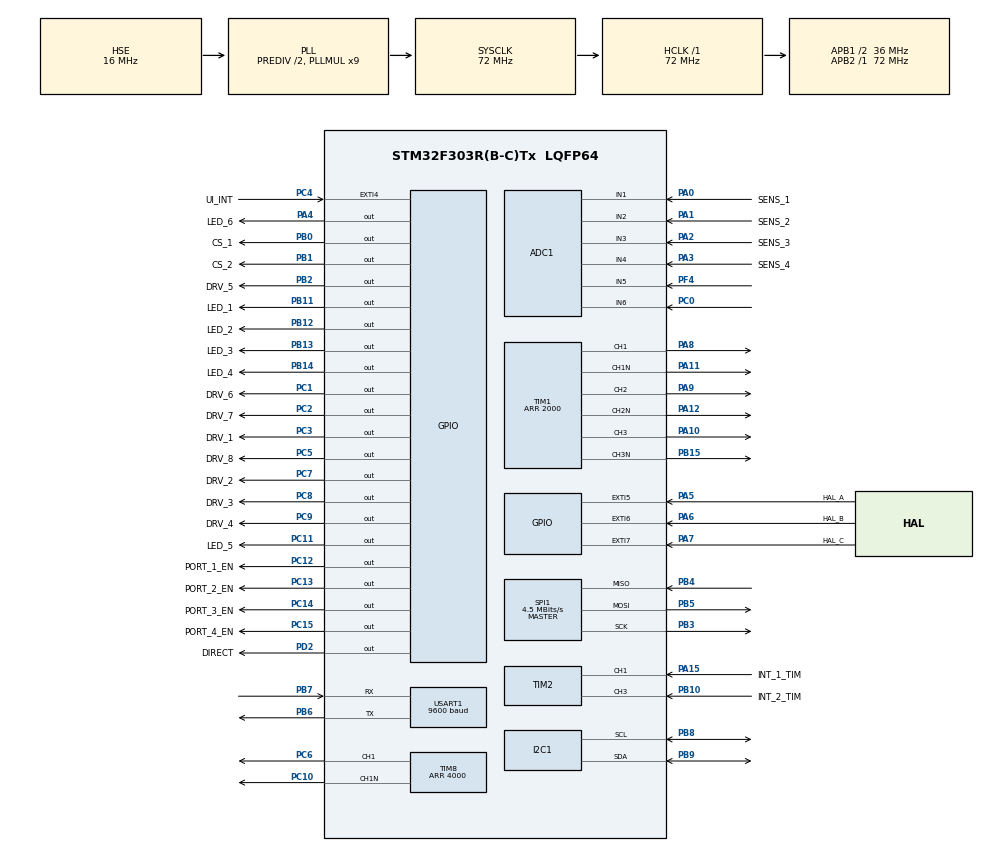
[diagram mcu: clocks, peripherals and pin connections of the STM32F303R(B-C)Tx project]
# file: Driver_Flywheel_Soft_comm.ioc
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ADC1.Channel-0\#ChannelRegularConversion=ADC_CHANNEL_1
ADC1.Channel-1\#ChannelRegularConversion=ADC_CHANNEL_1
ADC1.Channel-2\#ChannelRegularConversion=ADC_CHANNEL_1
ADC1.Channel-3\#ChannelRegularConversion=ADC_CHANNEL_1
ADC1.Channel-4\#ChannelRegularConversion=ADC_CHANNEL_1
ADC1.Channel-5\#ChannelRegularConversion=ADC_CHANNEL_1
ADC1.Channel-6\#ChannelRegularConversion=ADC_CHANNEL_1
ADC1.Channel-7\#ChannelRegularConversion=ADC_CHANNEL_1
ADC1.NbrOfConversion=8
ADC1.NbrOfConversionFlag=1
ADC1.Offset-0\#ChannelRegularConversion=0
ADC1.Offset-1\#ChannelRegularConversion=0
ADC1.Offset-2\#ChannelRegularConversion=0
ADC1.Offset-3\#ChannelRegularConversion=0
ADC1.Offset-4\#ChannelRegularConversion=0
ADC1.Offset-5\#ChannelRegularConversion=0
ADC1.Offset-6\#ChannelRegularConversion=0
ADC1.Offset-7\#ChannelRegularConversion=0
ADC1.OffsetNumber-0\#ChannelRegularConversion=ADC_OFFSET_NONE
ADC1.OffsetNumber-1\#ChannelRegularConversion=ADC_OFFSET_NONE
ADC1.OffsetNumber-2\#ChannelRegularConversion=ADC_OFFSET_NONE
ADC1.OffsetNumber-3\#ChannelRegularConversion=ADC_OFFSET_NONE
ADC1.OffsetNumber-4\#ChannelRegularConversion=ADC_OFFSET_NONE
ADC1.OffsetNumber-5\#ChannelRegularConversion=ADC_OFFSET_NONE
ADC1.OffsetNumber-6\#ChannelRegularConversion=ADC_OFFSET_NONE
ADC1.OffsetNumber-7\#ChannelRegularConversion=ADC_OFFSET_NONE
ADC1.Rank-0\#ChannelRegularConversion=1
ADC1.Rank-1\#ChannelRegularConversion=2
ADC1.Rank-2\#ChannelRegularConversion=3
ADC1.Rank-3\#ChannelRegularConversion=4
ADC1.Rank-4\#ChannelRegularConversion=5
ADC1.Rank-5\#ChannelRegularConversion=6
ADC1.Rank-6\#ChannelRegularConversion=7
ADC1.Rank-7\#ChannelRegularConversion=8
ADC1.SamplingTime-0\#ChannelRegularConversion=ADC_SAMPLETIME_1CYCLE_5
ADC1.SamplingTime-1\#ChannelRegularConversion=ADC_SAMPLETIME_1CYCLE_5
ADC1.SamplingTime-2\#ChannelRegularConversion=ADC_SAMPLETIME_1CYCLE_5
ADC1.SamplingTime-3\#ChannelRegularConversion=ADC_SAMPLETIME_1CYCLE_5
ADC1.SamplingTime-4\#ChannelRegularConversion=ADC_SAMPLETIME_1CYCLE_5
ADC1.SamplingTime-5\#ChannelRegularConversion=ADC_SAMPLETIME_1CYCLE_5
ADC1.SamplingTime-6\#ChannelRegularConversion=ADC_SAMPLETIME_1CYCLE_5
ADC1.SamplingTime-7\#ChannelRegularConversion=ADC_SAMPLETIME_1CYCLE_5
ADC1.SequencerNbRanks=1
ADC1.master=1
Dma.Request0=USART1_RX
Dma.Request1=USART1_TX
Dma.USART1_RX.0.Direction=DMA_PERIPH_TO_MEMORY
Dma.USART1_RX.0.Instance=DMA1_Channel5
Dma.USART1_RX.0.MemDataAlignment=DMA_MDATAALIGN_BYTE
Dma.USART1_RX.0.MemInc=DMA_MINC_ENABLE
Dma.USART1_RX.0.Mode=DMA_NORMAL
Dma.USART1_RX.0.PeriphDataAlignment=DMA_PDATAALIGN_BYTE
Dma.USART1_RX.0.PeriphInc=DMA_PINC_DISABLE
Dma.USART1_RX.0.Priority=DMA_PRIORITY_LOW
Dma.USART1_TX.1.Direction=DMA_MEMORY_TO_PERIPH
Dma.USART1_TX.1.Instance=DMA1_Channel4
Dma.USART1_TX.1.MemDataAlignment=DMA_MDATAALIGN_BYTE
Dma.USART1_TX.1.MemInc=DMA_MINC_ENABLE
Dma.USART1_TX.1.Mode=DMA_NORMAL
Dma.USART1_TX.1.PeriphDataAlignment=DMA_PDATAALIGN_BYTE
Dma.USART1_TX.1.PeriphInc=DMA_PINC_DISABLE
Dma.USART1_TX.1.Priority=DMA_PRIORITY_LOW
I2C1.Timing=0x00201D2B
Mcu.Family=STM32F3
Mcu.Name=STM32F303R(B-C)Tx
Mcu.Package=LQFP64
NVIC.DMA1_Channel4_IRQn=true\:0\:0\:false\:false\:true\:false\:true\:true
NVIC.DMA1_Channel5_IRQn=true\:0\:0\:false\:false\:true\:false\:true\:true
NVIC.PriorityGroup=NVIC_PRIORITYGROUP_4
NVIC.TIM1_BRK_TIM15_IRQn=true\:0\:0\:false\:false\:true\:true\:true\:true
NVIC.TIM2_IRQn=true\:0\:0\:false\:false\:true\:true\:true\:true
NVIC.TIM3_IRQn=true\:0\:0\:false\:false\:true\:true\:true\:true
NVIC.USART1_IRQn=true\:0\:0\:false\:false\:true\:true\:true\:true
PA0.GPIO_Label=SENS_1
PA0.Mode=IN1-Single-Ended
PA0.Signal=ADC1_IN1
PA1.GPIO_Label=SENS_2
PA1.Mode=IN2-Single-Ended
PA1.Signal=ADC1_IN2
PA10.Signal=S_TIM1_CH3
PA11.Mode=PWM Generation1 CH1 CH1N
PA11.Signal=TIM1_CH1N
PA12.Mode=PWM Generation2 CH2 CH2N
PA12.Signal=TIM1_CH2N
PA13.Mode=Serial_Wire
PA13.Signal=SYS_JTMS-SWDIO
PA14.Mode=Serial_Wire
PA14.Signal=SYS_JTCK-SWCLK
PA15.GPIO_Label=INT_1_TIM
PA15.Signal=S_TIM2_CH1_ETR
PA2.GPIO_Label=SENS_3
PA2.Mode=IN3-Single-Ended
PA2.Signal=ADC1_IN3
PA3.GPIO_Label=SENS_4
PA3.Mode=IN4-Single-Ended
PA3.Signal=ADC1_IN4
PA4.GPIO_Label=LED_6
PA4.Signal=GPIO_Output
PA5.GPIO_Label=HAL_A
PA5.Signal=GPXTI5
PA6.GPIO_Label=HAL_B
PA6.Signal=GPXTI6
PA7.GPIO_Label=HAL_C
PA7.Signal=GPXTI7
PA8.Signal=S_TIM1_CH1
PA9.Signal=S_TIM1_CH2
PB0.GPIO_Label=CS_1
PB0.Signal=GPIO_Output
PB1.GPIO_Label=CS_2
PB1.Signal=GPIO_Output
PB10.GPIO_Label=INT_2_TIM
PB10.Signal=S_TIM2_CH3
PB11.GPIO_Label=LED_1
PB11.Signal=GPIO_Output
PB12.GPIO_Label=LED_2
PB12.Signal=GPIO_Output
PB13.GPIO_Label=LED_3
PB13.Signal=GPIO_Output
PB14.GPIO_Label=LED_4
PB14.Signal=GPIO_Output
PB15.Mode=PWM Generation3 CH3 CH3N
PB15.Signal=TIM1_CH3N
PB2.GPIO_Label=DRV_5
PB2.Signal=GPIO_Output
PB3.Mode=Full_Duplex_Master
PB3.Signal=SPI1_SCK
PB4.Mode=Full_Duplex_Master
PB4.Signal=SPI1_MISO
PB5.Mode=Full_Duplex_Master
PB5.Signal=SPI1_MOSI
PB6.Mode=Asynchronous
PB6.Signal=USART1_TX
PB7.Mode=Asynchronous
PB7.Signal=USART1_RX
PB8.Mode=I2C
PB8.Signal=I2C1_SCL
PB9.Mode=I2C
PB9.Signal=I2C1_SDA
PC0.Signal=ADCx_IN6
PC1.GPIO_Label=DRV_6
PC1.Signal=GPIO_Output
PC10.Mode=PWM Generation1 CH1 CH1N
PC10.Signal=TIM8_CH1N
PC11.GPIO_Label=LED_5
PC11.Signal=GPIO_Output
PC12.GPIO_Label=PORT_1_EN
PC12.Signal=GPIO_Output
PC13.GPIO_Label=PORT_2_EN
PC13.Signal=GPIO_Output
PC14-OSC32_IN.GPIO_Label=PORT_3_EN
PC14-OSC32_IN.Signal=GPIO_Output
PC15-OSC32_OUT.GPIO_Label=PORT_4_EN
PC15-OSC32_OUT.Signal=GPIO_Output
PC2.GPIO_Label=DRV_7
PC2.Signal=GPIO_Output
PC3.GPIO_Label=DRV_1
PC3.Signal=GPIO_Output
PC4.GPIO_Label=UI_INT
PC4.Signal=GPXTI4
PC5.GPIO_Label=DRV_8
PC5.Signal=GPIO_Output
PC6.Signal=S_TIM8_CH1
PC7.GPIO_Label=DRV_2
PC7.Signal=GPIO_Output
PC8.GPIO_Label=DRV_3
PC8.Signal=GPIO_Output
PC9.GPIO_Label=DRV_4
PC9.Signal=GPIO_Output
PD2.GPIO_Label=DIRECT
PD2.Signal=GPIO_Output
PF0-OSC_IN.Mode=HSE-External-Oscillator
PF0-OSC_IN.Signal=RCC_OSC_IN
PF1-OSC_OUT.Mode=HSE-External-Oscillator
PF1-OSC_OUT.Signal=RCC_OSC_OUT
PF4.Mode=IN5-Single-Ended
PF4.Signal=ADC1_IN5
ProjectManager.HeapSize=0x200
ProjectManager.StackSize=0x400
ProjectManager.TargetToolchain=STM32CubeIDE
RCC.AHBFreq_Value=72000000
RCC.APB1CLKDivider=RCC_HCLK_DIV2
RCC.APB1Freq_Value=36000000
RCC.APB1TimFreq_Value=72000000
RCC.APB2Freq_Value=72000000
RCC.APB2TimFreq_Value=72000000
RCC.CortexFreq_Value=72000000
RCC.HCLKFreq_Value=72000000
RCC.HSE_VALUE=16000000
RCC.HSI_VALUE=8000000
RCC.LSE_VALUE=32768
RCC.PLLMUL=RCC_PLL_MUL9
RCC.PLLSourceVirtual=RCC_PLLSOURCE_HSE
RCC.RCC_PLLsource_Clock_Source_FROM_HSE=RCC_HSE_PREDIV_DIV2
RCC.SYSCLKFreq_VALUE=72000000
RCC.SYSCLKSourceVirtual=RCC_SYSCLKSOURCE_PLLCLK
RCC.USBFreq_Value=72000000
SH.ADCx_IN6.0=ADC1_IN6,IN6-Single-Ended
SH.S_TIM1_CH1.0=TIM1_CH1,PWM Generation1 CH1 CH1N
SH.S_TIM1_CH2.0=TIM1_CH2,PWM Generation2 CH2 CH2N
SH.S_TIM1_CH3.0=TIM1_CH3,PWM Generation3 CH3 CH3N
SH.S_TIM2_CH1_ETR.0=TIM2_CH1,Input_Capture1_from_TI1
SH.S_TIM2_CH3.0=TIM2_CH3,Input_Capture3_from_TI3
SH.S_TIM8_CH1.0=TIM8_CH1,PWM Generation1 CH1 CH1N
SPI1.BaudRatePrescaler=SPI_BAUDRATEPRESCALER_16
SPI1.CalculateBaudRate=4.5 MBits/s
SPI1.Direction=SPI_DIRECTION_2LINES
SPI1.Mode=SPI_MODE_MASTER
SPI1.VirtualType=VM_MASTER
TIM1.AutoReloadPreload=TIM_AUTORELOAD_PRELOAD_ENABLE
TIM1.Channel-PWM\ Generation1\ CH1\ CH1N=TIM_CHANNEL_1
TIM1.Channel-PWM\ Generation2\ CH2\ CH2N=TIM_CHANNEL_2
TIM1.Channel-PWM\ Generation3\ CH3\ CH3N=TIM_CHANNEL_3
TIM1.DeadTime=150
TIM1.OCFastMode_PWM-PWM\ Generation1\ CH1\ CH1N=TIM_OCFAST_ENABLE
TIM1.OCFastMode_PWM-PWM\ Generation2\ CH2\ CH2N=TIM_OCFAST_ENABLE
TIM1.OCFastMode_PWM-PWM\ Generation3\ CH3\ CH3N=TIM_OCFAST_ENABLE
TIM1.OCNIdleState_1=TIM_OCNIDLESTATE_SET
TIM1.OCNIdleState_2=TIM_OCNIDLESTATE_SET
TIM1.OCNIdleState_3=TIM_OCNIDLESTATE_SET
TIM1.OCNPolarity_3=TIM_OCNPOLARITY_HIGH
TIM1.Period=2000
TIM1.Pulse-PWM\ Generation1\ CH1\ CH1N=1000
TIM1.Pulse-PWM\ Generation2\ CH2\ CH2N=1000
TIM1.Pulse-PWM\ Generation3\ CH3\ CH3N=1000
TIM2.Channel-Input_Capture1_from_TI1=TIM_CHANNEL_1
TIM2.Channel-Input_Capture2_from_TI1_63=TIM_CHANNEL_2
TIM2.Channel-Input_Capture3_from_TI3=TIM_CHANNEL_3
TIM2.Channel-Input_Capture4_from_TI3_63=TIM_CHANNEL_4
TIM2.ICFilter_CH1=15
TIM2.ICFilter_CH3=15
TIM2.ICPolarity_CH1=TIM_INPUTCHANNELPOLARITY_FALLING
TIM2.ICPolarity_CH3=TIM_INPUTCHANNELPOLARITY_FALLING
TIM3.AutoReloadPreload=TIM_AUTORELOAD_PRELOAD_DISABLE
TIM3.Period=35999
TIM3.Prescaler=199
TIM8.Channel-PWM\ Generation1\ CH1\ CH1N=TIM_CHANNEL_1
TIM8.OCFastMode_PWM-PWM\ Generation1\ CH1\ CH1N=TIM_OCFAST_ENABLE
TIM8.OCNIdleState_1=TIM_OCNIDLESTATE_SET
TIM8.Period=4000
TIM8.Pulse-PWM\ Generation1\ CH1\ CH1N=1000
USART1.BaudRate=9600
USART1.VirtualMode-Asynchronous=VM_ASYNC
VP_TIM15_VS_ClockSourceINT.Mode=Internal
VP_TIM1_VS_ClockSourceINT.Mode=Internal
VP_TIM2_VS_ClockSourceINT.Mode=Internal
VP_TIM2_VS_indirect_ch1.Mode=Input_Capture2_from_TI1_63
VP_TIM2_VS_indirect_ch3.Mode=Input_Capture4_from_TI3_63
VP_TIM3_VS_ClockSourceINT.Mode=Internal
VP_TIM6_VS_ClockSourceINT.Mode=Enable_Timer
VP_TIM8_VS_ClockSourceINT.Mode=Internal
board=custom

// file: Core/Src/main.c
/* USER CODE BEGIN Header */
/**
  ******************************************************************************
  * @file           : main.c
  * @brief          : Main program body
  ******************************************************************************
  * @attention
  *
  * Copyright (c) 2024 STMicroelectronics.
  * All rights reserved.
  *
  * This software is licensed under terms that can be found in the LICENSE file
  * in the root directory of this software component.
  * If no LICENSE file comes with this software, it is provided AS-IS.
  *
  ******************************************************************************
  */
/* USER CODE END Header */
#include "main.h"

/* USER CODE BEGIN Includes */
#include "stdbool.h"
#include "modbusDevice.h"
#include "modbusSlave.h"
#include "Registers_handler.h"
/* USER CODE END Includes */

/* USER CODE BEGIN PTD */

#define RX_BUFFER_SIZE 64
#define USART_TIMEOUT 900 // Таймаут в миллисекундах
#define ROTATE_TIME 2000
#define UPDATE_TIME 1000 //время прироста ШИМ на один шаг
#define ADC_NUM_CHANNELS 8  // Количество каналов

#define ANGLE_OF_ATTACK 15
uint16_t adc_values[ADC_NUM_CHANNELS];
uint32_t lastActivityTime = 0;
 bool usartBusy = false;
 uint8_t rxFrame[64];
 uint8_t txFrame[255];
 uint8_t SLAVE_ID=2;
 uint16_t data_reg[16]={0,};
 uint16_t rcv_data_reg[16]={0,};
 uint8_t dicreteInputs=0;
 uint8_t coils=0;
 uint16_t timer1Freq=0;
 uint16_t timer3Freq=0;
 uint16_t auto_mode_timer=0;
 uint32_t pwm=0;

 bool pwm_status=0;
 bool dataStates[16];
 bool coil_1=0;
 bool coil_2=0;
 bool coil_3=0;
 bool coil_4=0;
 bool auto_mode=0;
volatile uint8_t coil_period=0;
volatile uint8_t polarity=0;
volatile uint8_t speed_test=0;
 uint32_t timerClockFreq = 72000000;
volatile uint32_t period=0;
 uint16_t f=0;
 volatile uint32_t rpm=0;
 uint32_t moove=0;

/* USER CODE END PTD */

ADC_HandleTypeDef hadc1;

I2C_HandleTypeDef hi2c1;

SPI_HandleTypeDef hspi1;

TIM_HandleTypeDef htim1;
TIM_HandleTypeDef htim2;
TIM_HandleTypeDef htim3;
TIM_HandleTypeDef htim6;
TIM_HandleTypeDef htim8;
TIM_HandleTypeDef htim15;

UART_HandleTypeDef huart1;
DMA_HandleTypeDef hdma_usart1_rx;
DMA_HandleTypeDef hdma_usart1_tx;

void SystemClock_Config(void);
static void MX_GPIO_Init(void);
static void MX_DMA_Init(void);
static void MX_TIM1_Init(void);
static void MX_TIM3_Init(void);
static void MX_TIM8_Init(void);
static void MX_TIM2_Init(void);
static void MX_USART1_UART_Init(void);
static void MX_I2C1_Init(void);
static void MX_ADC1_Init(void);
static void MX_SPI1_Init(void);
static void MX_TIM15_Init(void);
static void MX_TIM6_Init(void);
/* USER CODE BEGIN PFP */
void Check_USART1_Timeout(void);
void Reset_USART1(void);
void Read_ADC_Values(void);
uint16_t calculateTimerFrequency(TIM_TypeDef *TIMx, uint32_t timerClockFreq);

void Rising_1_coil(void);
void Falling_1_coil(void);
void Rising_2_coil(void);
void Falling_2_coil(void);
/* USER CODE END PFP */

int main(void)
{

  /* MCU Configuration--------------------------------------------------------*/

  /* Reset of all peripherals, Initializes the Flash interface and the Systick. */
  HAL_Init();

  /* Configure the system clock */
  SystemClock_Config();

  /* Initialize all configured peripherals */
  MX_GPIO_Init();
  MX_DMA_Init();
  MX_TIM1_Init();
  MX_TIM3_Init();
  MX_TIM8_Init();
  MX_TIM2_Init();
  MX_USART1_UART_Init();
  MX_I2C1_Init();
  MX_ADC1_Init();
  MX_SPI1_Init();
  MX_TIM15_Init();
  MX_TIM6_Init();
  /* USER CODE BEGIN 2 */
   LED_1_ON;
   RX_2;

   /*
   HAL_TIM_PWM_Start(&htim1, TIM_CHANNEL_1);
   HAL_TIMEx_PWMN_Start(&htim1, TIM_CHANNEL_1);
   HAL_TIM_PWM_Start(&htim1, TIM_CHANNEL_2);
   HAL_TIMEx_PWMN_Start(&htim1, TIM_CHANNEL_2);
   HAL_TIM_PWM_Start(&htim1, TIM_CHANNEL_3);
   HAL_TIMEx_PWMN_Start(&htim1, TIM_CHANNEL_3);
   HAL_TIM_PWM_Start(&htim8, TIM_CHANNEL_1);
   HAL_TIMEx_PWMN_Start(&htim8, TIM_CHANNEL_1);
   */

   TIM1->ARR=9000;
   TIM8->ARR=9000;

   DRV_1_ON;
   DRV_2_ON;
   DRV_3_ON;
   DRV_4_ON;

   DR_1_OFF;
   DR_2_OFF;
   DR_3_OFF;
   DR_4_OFF;
   DR_5_OFF;
   DR_6_OFF;
   DR_7_OFF;
   DR_8_OFF;

   HAL_TIM_Base_Start_IT(&htim2);
   HAL_TIM_IC_Start_IT(&htim2, TIM_CHANNEL_1);
   HAL_TIM_IC_Start_IT(&htim2, TIM_CHANNEL_2);
   HAL_TIM_IC_Start_IT(&htim2, TIM_CHANNEL_3);
   HAL_TIM_IC_Start_IT(&htim2, TIM_CHANNEL_4);
   HAL_UARTEx_ReceiveToIdle_DMA(&huart1, rxFrame, RX_BUFFER_SIZE);
     __HAL_DMA_DISABLE_IT(&hdma_usart1_rx, DMA_IT_HT);
     HAL_TIM_Base_Start_IT(&htim15);
     HAL_TIM_Base_Start_IT(&htim3);
     LED_1_OFF;
  /* USER CODE END 2 */

  /* Infinite loop */
  /* USER CODE BEGIN WHILE */
  while (1)
  {
	  if(auto_mode==0){
	    TIM1->CCR1=rcv_data_reg[0];
	  	TIM1->CCR2=rcv_data_reg[1];
	  	TIM1->CCR3=rcv_data_reg[2];
	  	TIM8->CCR1=rcv_data_reg[3];
         pwm=rcv_data_reg[0];
	  }

	  if(auto_mode==1){

		  if(HAL_GetTick()-auto_mode_timer>=UPDATE_TIME){
           pwm=pwm+5;
           TIM1->CCR1=pwm;
           TIM1->CCR2=pwm;
           TIM1->CCR3=pwm;
           TIM8->CCR1=pwm;
		  auto_mode_timer=HAL_GetTick();}
	  }

	  	TIM1->ARR= rcv_data_reg[4];
	  	TIM8->ARR= rcv_data_reg[4];
	    Check_USART1_Timeout();
	    data_reg[0]=calculateTimerFrequency(TIM1, timerClockFreq); //Частота ШИМ ,КГц
	    data_reg[1]=calculateTimerFrequency(TIM8, timerClockFreq); //Частота ШИМ ,КГц
	    data_reg[2]=rpm;       //Скорость об.мин
	    data_reg[3]=TIM1->ARR; //Период таймера 1
	    data_reg[4]=pwm;//Значение ШИМ
	  //  data_reg[3]=adc_values[0];
	  //  data_reg[4]=adc_values[1];
	  //  data_reg[5]=adc_values[2];
	  //  data_reg[6]=adc_values[3];

	    coil_1= (rcv_data_reg[7]>>1)&0x01;
	    coil_2= (rcv_data_reg[7]>>2)&0x01;
	    coil_3= (rcv_data_reg[7]>>3)&0x01;
	    coil_4= (rcv_data_reg[7]>>4)&0x01;
        auto_mode= (rcv_data_reg[7]>>5)&0x01;
	    if(coil_1){LED_4_ON;DRV_1_ON;}
	    if(!coil_1){LED_4_OFF;DRV_1_OFF;}
	    if(coil_2){LED_5_ON;DRV_2_ON;}
	   	if(!coil_2){LED_5_OFF;DRV_2_OFF;}
	   	if(coil_3){LED_6_ON;DRV_3_ON;}
	    if(!coil_3){LED_6_OFF;DRV_3_OFF;}
	    if(coil_4){LED_3_ON;DRV_4_ON;}
	    if(!coil_4){LED_3_OFF;DRV_4_OFF;}

	   // Read_ADC_Values();

if((HAL_GetTick()-moove)>=ROTATE_TIME){rpm=0;}
    /* USER CODE END WHILE */

  }
}

void SystemClock_Config(void)
{
  RCC_OscInitTypeDef RCC_OscInitStruct = {0};
  RCC_ClkInitTypeDef RCC_ClkInitStruct = {0};
  RCC_PeriphCLKInitTypeDef PeriphClkInit = {0};

  /** Initializes the RCC Oscillators according to the specified parameters
  * in the RCC_OscInitTypeDef structure.
  */
  RCC_OscInitStruct.OscillatorType = RCC_OSCILLATORTYPE_HSI|RCC_OSCILLATORTYPE_HSE;
  RCC_OscInitStruct.HSEState = RCC_HSE_ON;
  RCC_OscInitStruct.HSEPredivValue = RCC_HSE_PREDIV_DIV2;
  RCC_OscInitStruct.HSIState = RCC_HSI_ON;
  RCC_OscInitStruct.HSICalibrationValue = RCC_HSICALIBRATION_DEFAULT;
  RCC_OscInitStruct.PLL.PLLState = RCC_PLL_ON;
  RCC_OscInitStruct.PLL.PLLSource = RCC_PLLSOURCE_HSE;
  RCC_OscInitStruct.PLL.PLLMUL = RCC_PLL_MUL9;
  if (HAL_RCC_OscConfig(&RCC_OscInitStruct) != HAL_OK)
  {
    Error_Handler();
  }

  /** Initializes the CPU, AHB and APB buses clocks
  */
  RCC_ClkInitStruct.ClockType = RCC_CLOCKTYPE_HCLK|RCC_CLOCKTYPE_SYSCLK
                              |RCC_CLOCKTYPE_PCLK1|RCC_CLOCKTYPE_PCLK2;
  RCC_ClkInitStruct.SYSCLKSource = RCC_SYSCLKSOURCE_PLLCLK;
  RCC_ClkInitStruct.AHBCLKDivider = RCC_SYSCLK_DIV1;
  RCC_ClkInitStruct.APB1CLKDivider = RCC_HCLK_DIV2;
  RCC_ClkInitStruct.APB2CLKDivider = RCC_HCLK_DIV1;

  if (HAL_RCC_ClockConfig(&RCC_ClkInitStruct, FLASH_LATENCY_2) != HAL_OK)
  {
    Error_Handler();
  }
  PeriphClkInit.PeriphClockSelection = RCC_PERIPHCLK_USART1|RCC_PERIPHCLK_I2C1
                              |RCC_PERIPHCLK_TIM1|RCC_PERIPHCLK_TIM8
                              |RCC_PERIPHCLK_ADC12;
  PeriphClkInit.Usart1ClockSelection = RCC_USART1CLKSOURCE_PCLK2;
  PeriphClkInit.Adc12ClockSelection = RCC_ADC12PLLCLK_DIV1;
  PeriphClkInit.I2c1ClockSelection = RCC_I2C1CLKSOURCE_HSI;
  PeriphClkInit.Tim1ClockSelection = RCC_TIM1CLK_HCLK;
  PeriphClkInit.Tim8ClockSelection = RCC_TIM8CLK_HCLK;
  if (HAL_RCCEx_PeriphCLKConfig(&PeriphClkInit) != HAL_OK)
  {
    Error_Handler();
  }
}

static void MX_ADC1_Init(void)
{

  ADC_MultiModeTypeDef multimode = {0};
  ADC_ChannelConfTypeDef sConfig = {0};

  /** Common config
  */
  hadc1.Instance = ADC1;
  hadc1.Init.ClockPrescaler = ADC_CLOCK_ASYNC_DIV1;
  hadc1.Init.Resolution = ADC_RESOLUTION_12B;
  hadc1.Init.ScanConvMode = ADC_SCAN_ENABLE;
  hadc1.Init.ContinuousConvMode = DISABLE;
  hadc1.Init.DiscontinuousConvMode = DISABLE;
  hadc1.Init.ExternalTrigConvEdge = ADC_EXTERNALTRIGCONVEDGE_NONE;
  hadc1.Init.ExternalTrigConv = ADC_SOFTWARE_START;
  hadc1.Init.DataAlign = ADC_DATAALIGN_RIGHT;
  hadc1.Init.NbrOfConversion = 8;
  hadc1.Init.DMAContinuousRequests = DISABLE;
  hadc1.Init.EOCSelection = ADC_EOC_SINGLE_CONV;
  hadc1.Init.LowPowerAutoWait = DISABLE;
  hadc1.Init.Overrun = ADC_OVR_DATA_OVERWRITTEN;
  if (HAL_ADC_Init(&hadc1) != HAL_OK)
  {
    Error_Handler();
  }

  /** Configure the ADC multi-mode
  */
  multimode.Mode = ADC_MODE_INDEPENDENT;
  if (HAL_ADCEx_MultiModeConfigChannel(&hadc1, &multimode) != HAL_OK)
  {
    Error_Handler();
  }

  /** Configure Regular Channel
  */
  sConfig.Channel = ADC_CHANNEL_1;
  sConfig.Rank = ADC_REGULAR_RANK_1;
  sConfig.SingleDiff = ADC_SINGLE_ENDED;
  sConfig.SamplingTime = ADC_SAMPLETIME_1CYCLE_5;
  sConfig.OffsetNumber = ADC_OFFSET_NONE;
  sConfig.Offset = 0;
  if (HAL_ADC_ConfigChannel(&hadc1, &sConfig) != HAL_OK)
  {
    Error_Handler();
  }

  /** Configure Regular Channel
  */
  sConfig.Rank = ADC_REGULAR_RANK_2;
  if (HAL_ADC_ConfigChannel(&hadc1, &sConfig) != HAL_OK)
  {
    Error_Handler();
  }

  /** Configure Regular Channel
  */
  sConfig.Rank = ADC_REGULAR_RANK_3;
  if (HAL_ADC_ConfigChannel(&hadc1, &sConfig) != HAL_OK)
  {
    Error_Handler();
  }

  /** Configure Regular Channel
  */
  sConfig.Rank = ADC_REGULAR_RANK_4;
  if (HAL_ADC_ConfigChannel(&hadc1, &sConfig) != HAL_OK)
  {
    Error_Handler();
  }

  /** Configure Regular Channel
  */
  sConfig.Rank = ADC_REGULAR_RANK_5;
  if (HAL_ADC_ConfigChannel(&hadc1, &sConfig) != HAL_OK)
  {
    Error_Handler();
  }

  /** Configure Regular Channel
  */
  sConfig.Rank = ADC_REGULAR_RANK_6;
  if (HAL_ADC_ConfigChannel(&hadc1, &sConfig) != HAL_OK)
  {
    Error_Handler();
  }

  /** Configure Regular Channel
  */
  sConfig.Rank = ADC_REGULAR_RANK_7;
  if (HAL_ADC_ConfigChannel(&hadc1, &sConfig) != HAL_OK)
  {
    Error_Handler();
  }

  /** Configure Regular Channel
  */
  sConfig.Rank = ADC_REGULAR_RANK_8;
  if (HAL_ADC_ConfigChannel(&hadc1, &sConfig) != HAL_OK)
  {
    Error_Handler();
  }

}

static void MX_I2C1_Init(void)
{

  hi2c1.Instance = I2C1;
  hi2c1.Init.Timing = 0x00201D2B;
  hi2c1.Init.OwnAddress1 = 0;
  hi2c1.Init.AddressingMode = I2C_ADDRESSINGMODE_7BIT;
  hi2c1.Init.DualAddressMode = I2C_DUALADDRESS_DISABLE;
  hi2c1.Init.OwnAddress2 = 0;
  hi2c1.Init.OwnAddress2Masks = I2C_OA2_NOMASK;
  hi2c1.Init.GeneralCallMode = I2C_GENERALCALL_DISABLE;
  hi2c1.Init.NoStretchMode = I2C_NOSTRETCH_DISABLE;
  if (HAL_I2C_Init(&hi2c1) != HAL_OK)
  {
    Error_Handler();
  }

  /** Configure Analogue filter
  */
  if (HAL_I2CEx_ConfigAnalogFilter(&hi2c1, I2C_ANALOGFILTER_ENABLE) != HAL_OK)
  {
    Error_Handler();
  }

  /** Configure Digital filter
  */
  if (HAL_I2CEx_ConfigDigitalFilter(&hi2c1, 0) != HAL_OK)
  {
    Error_Handler();
  }

}

static void MX_SPI1_Init(void)
{

  /* SPI1 parameter configuration*/
  hspi1.Instance = SPI1;
  hspi1.Init.Mode = SPI_MODE_MASTER;
  hspi1.Init.Direction = SPI_DIRECTION_2LINES;
  hspi1.Init.DataSize = SPI_DATASIZE_4BIT;
  hspi1.Init.CLKPolarity = SPI_POLARITY_LOW;
  hspi1.Init.CLKPhase = SPI_PHASE_1EDGE;
  hspi1.Init.NSS = SPI_NSS_SOFT;
  hspi1.Init.BaudRatePrescaler = SPI_BAUDRATEPRESCALER_16;
  hspi1.Init.FirstBit = SPI_FIRSTBIT_MSB;
  hspi1.Init.TIMode = SPI_TIMODE_DISABLE;
  hspi1.Init.CRCCalculation = SPI_CRCCALCULATION_DISABLE;
  hspi1.Init.CRCPolynomial = 7;
  hspi1.Init.CRCLength = SPI_CRC_LENGTH_DATASIZE;
  hspi1.Init.NSSPMode = SPI_NSS_PULSE_ENABLE;
  if (HAL_SPI_Init(&hspi1) != HAL_OK)
  {
    Error_Handler();
  }

}

static void MX_TIM1_Init(void)
{

  TIM_ClockConfigTypeDef sClockSourceConfig = {0};
  TIM_MasterConfigTypeDef sMasterConfig = {0};
  TIM_OC_InitTypeDef sConfigOC = {0};
  TIM_BreakDeadTimeConfigTypeDef sBreakDeadTimeConfig = {0};

  htim1.Instance = TIM1;
  htim1.Init.Prescaler = 0;
  htim1.Init.CounterMode = TIM_COUNTERMODE_UP;
  htim1.Init.Period = 2000;
  htim1.Init.ClockDivision = TIM_CLOCKDIVISION_DIV1;
  htim1.Init.RepetitionCounter = 0;
  htim1.Init.AutoReloadPreload = TIM_AUTORELOAD_PRELOAD_ENABLE;
  if (HAL_TIM_Base_Init(&htim1) != HAL_OK)
  {
    Error_Handler();
  }
  sClockSourceConfig.ClockSource = TIM_CLOCKSOURCE_INTERNAL;
  if (HAL_TIM_ConfigClockSource(&htim1, &sClockSourceConfig) != HAL_OK)
  {
    Error_Handler();
  }
  if (HAL_TIM_PWM_Init(&htim1) != HAL_OK)
  {
    Error_Handler();
  }
  sMasterConfig.MasterOutputTrigger = TIM_TRGO_RESET;
  sMasterConfig.MasterOutputTrigger2 = TIM_TRGO2_RESET;
  sMasterConfig.MasterSlaveMode = TIM_MASTERSLAVEMODE_DISABLE;
  if (HAL_TIMEx_MasterConfigSynchronization(&htim1, &sMasterConfig) != HAL_OK)
  {
    Error_Handler();
  }
  sConfigOC.OCMode = TIM_OCMODE_PWM1;
  sConfigOC.Pulse = 1000;
  sConfigOC.OCPolarity = TIM_OCPOLARITY_HIGH;
  sConfigOC.OCNPolarity = TIM_OCNPOLARITY_HIGH;
  sConfigOC.OCFastMode = TIM_OCFAST_ENABLE;
  sConfigOC.OCIdleState = TIM_OCIDLESTATE_RESET;
  sConfigOC.OCNIdleState = TIM_OCNIDLESTATE_SET;
  if (HAL_TIM_PWM_ConfigChannel(&htim1, &sConfigOC, TIM_CHANNEL_1) != HAL_OK)
  {
    Error_Handler();
  }
  if (HAL_TIM_PWM_ConfigChannel(&htim1, &sConfigOC, TIM_CHANNEL_2) != HAL_OK)
  {
    Error_Handler();
  }
  if (HAL_TIM_PWM_ConfigChannel(&htim1, &sConfigOC, TIM_CHANNEL_3) != HAL_OK)
  {
    Error_Handler();
  }
  sBreakDeadTimeConfig.OffStateRunMode = TIM_OSSR_DISABLE;
  sBreakDeadTimeConfig.OffStateIDLEMode = TIM_OSSI_DISABLE;
  sBreakDeadTimeConfig.LockLevel = TIM_LOCKLEVEL_OFF;
  sBreakDeadTimeConfig.DeadTime = 150;
  sBreakDeadTimeConfig.BreakState = TIM_BREAK_DISABLE;
  sBreakDeadTimeConfig.BreakPolarity = TIM_BREAKPOLARITY_HIGH;
  sBreakDeadTimeConfig.BreakFilter = 0;
  sBreakDeadTimeConfig.Break2State = TIM_BREAK2_DISABLE;
  sBreakDeadTimeConfig.Break2Polarity = TIM_BREAK2POLARITY_HIGH;
  sBreakDeadTimeConfig.Break2Filter = 0;
  sBreakDeadTimeConfig.AutomaticOutput = TIM_AUTOMATICOUTPUT_DISABLE;
  if (HAL_TIMEx_ConfigBreakDeadTime(&htim1, &sBreakDeadTimeConfig) != HAL_OK)
  {
    Error_Handler();
  }
  HAL_TIM_MspPostInit(&htim1);

}

static void MX_TIM2_Init(void)
{

  TIM_ClockConfigTypeDef sClockSourceConfig = {0};
  TIM_MasterConfigTypeDef sMasterConfig = {0};
  TIM_IC_InitTypeDef sConfigIC = {0};

  htim2.Instance = TIM2;
  htim2.Init.Prescaler = 0;
  htim2.Init.CounterMode = TIM_COUNTERMODE_UP;
  htim2.Init.Period = 4294967295;
  htim2.Init.ClockDivision = TIM_CLOCKDIVISION_DIV1;
  htim2.Init.AutoReloadPreload = TIM_AUTORELOAD_PRELOAD_DISABLE;
  if (HAL_TIM_Base_Init(&htim2) != HAL_OK)
  {
    Error_Handler();
  }
  sClockSourceConfig.ClockSource = TIM_CLOCKSOURCE_INTERNAL;
  if (HAL_TIM_ConfigClockSource(&htim2, &sClockSourceConfig) != HAL_OK)
  {
    Error_Handler();
  }
  if (HAL_TIM_IC_Init(&htim2) != HAL_OK)
  {
    Error_Handler();
  }
  sMasterConfig.MasterOutputTrigger = TIM_TRGO_RESET;
  sMasterConfig.MasterSlaveMode = TIM_MASTERSLAVEMODE_DISABLE;
  if (HAL_TIMEx_MasterConfigSynchronization(&htim2, &sMasterConfig) != HAL_OK)
  {
    Error_Handler();
  }
  sConfigIC.ICPolarity = TIM_INPUTCHANNELPOLARITY_FALLING;
  sConfigIC.ICSelection = TIM_ICSELECTION_DIRECTTI;
  sConfigIC.ICPrescaler = TIM_ICPSC_DIV1;
  sConfigIC.ICFilter = 15;
  if (HAL_TIM_IC_ConfigChannel(&htim2, &sConfigIC, TIM_CHANNEL_1) != HAL_OK)
  {
    Error_Handler();
  }
  sConfigIC.ICPolarity = TIM_INPUTCHANNELPOLARITY_RISING;
  sConfigIC.ICSelection = TIM_ICSELECTION_INDIRECTTI;
  sConfigIC.ICFilter = 0;
  if (HAL_TIM_IC_ConfigChannel(&htim2, &sConfigIC, TIM_CHANNEL_2) != HAL_OK)
  {
    Error_Handler();
  }
  sConfigIC.ICPolarity = TIM_INPUTCHANNELPOLARITY_FALLING;
  sConfigIC.ICSelection = TIM_ICSELECTION_DIRECTTI;
  sConfigIC.ICFilter = 15;
  if (HAL_TIM_IC_ConfigChannel(&htim2, &sConfigIC, TIM_CHANNEL_3) != HAL_OK)
  {
    Error_Handler();
  }
  sConfigIC.ICPolarity = TIM_INPUTCHANNELPOLARITY_RISING;
  sConfigIC.ICSelection = TIM_ICSELECTION_INDIRECTTI;
  sConfigIC.ICFilter = 0;
  if (HAL_TIM_IC_ConfigChannel(&htim2, &sConfigIC, TIM_CHANNEL_4) != HAL_OK)
  {
    Error_Handler();
  }

}

static void MX_TIM3_Init(void)
{

  TIM_ClockConfigTypeDef sClockSourceConfig = {0};
  TIM_MasterConfigTypeDef sMasterConfig = {0};

  htim3.Instance = TIM3;
  htim3.Init.Prescaler = 199;
  htim3.Init.CounterMode = TIM_COUNTERMODE_UP;
  htim3.Init.Period = 35999;
  htim3.Init.ClockDivision = TIM_CLOCKDIVISION_DIV1;
  htim3.Init.AutoReloadPreload = TIM_AUTORELOAD_PRELOAD_DISABLE;
  if (HAL_TIM_Base_Init(&htim3) != HAL_OK)
  {
    Error_Handler();
  }
  sClockSourceConfig.ClockSource = TIM_CLOCKSOURCE_INTERNAL;
  if (HAL_TIM_ConfigClockSource(&htim3, &sClockSourceConfig) != HAL_OK)
  {
    Error_Handler();
  }
  sMasterConfig.MasterOutputTrigger = TIM_TRGO_RESET;
  sMasterConfig.MasterSlaveMode = TIM_MASTERSLAVEMODE_DISABLE;
  if (HAL_TIMEx_MasterConfigSynchronization(&htim3, &sMasterConfig) != HAL_OK)
  {
    Error_Handler();
  }

}

static void MX_TIM6_Init(void)
{

  TIM_MasterConfigTypeDef sMasterConfig = {0};

  htim6.Instance = TIM6;
  htim6.Init.Prescaler = 0;
  htim6.Init.CounterMode = TIM_COUNTERMODE_UP;
  htim6.Init.Period = 65535;
  htim6.Init.AutoReloadPreload = TIM_AUTORELOAD_PRELOAD_DISABLE;
  if (HAL_TIM_Base_Init(&htim6) != HAL_OK)
  {
    Error_Handler();
  }
  sMasterConfig.MasterOutputTrigger = TIM_TRGO_RESET;
  sMasterConfig.MasterSlaveMode = TIM_MASTERSLAVEMODE_DISABLE;
  if (HAL_TIMEx_MasterConfigSynchronization(&htim6, &sMasterConfig) != HAL_OK)
  {
    Error_Handler();
  }

}

static void MX_TIM8_Init(void)
{

  TIM_ClockConfigTypeDef sClockSourceConfig = {0};
  TIM_MasterConfigTypeDef sMasterConfig = {0};
  TIM_OC_InitTypeDef sConfigOC = {0};
  TIM_BreakDeadTimeConfigTypeDef sBreakDeadTimeConfig = {0};

  htim8.Instance = TIM8;
  htim8.Init.Prescaler = 0;
  htim8.Init.CounterMode = TIM_COUNTERMODE_UP;
  htim8.Init.Period = 4000;
  htim8.Init.ClockDivision = TIM_CLOCKDIVISION_DIV1;
  htim8.Init.RepetitionCounter = 0;
  htim8.Init.AutoReloadPreload = TIM_AUTORELOAD_PRELOAD_DISABLE;
  if (HAL_TIM_Base_Init(&htim8) != HAL_OK)
  {
    Error_Handler();
  }
  sClockSourceConfig.ClockSource = TIM_CLOCKSOURCE_INTERNAL;
  if (HAL_TIM_ConfigClockSource(&htim8, &sClockSourceConfig) != HAL_OK)
  {
    Error_Handler();
  }
  if (HAL_TIM_PWM_Init(&htim8) != HAL_OK)
  {
    Error_Handler();
  }
  sMasterConfig.MasterOutputTrigger = TIM_TRGO_RESET;
  sMasterConfig.MasterOutputTrigger2 = TIM_TRGO2_RESET;
  sMasterConfig.MasterSlaveMode = TIM_MASTERSLAVEMODE_DISABLE;
  if (HAL_TIMEx_MasterConfigSynchronization(&htim8, &sMasterConfig) != HAL_OK)
  {
    Error_Handler();
  }
  sConfigOC.OCMode = TIM_OCMODE_PWM1;
  sConfigOC.Pulse = 1000;
  sConfigOC.OCPolarity = TIM_OCPOLARITY_HIGH;
  sConfigOC.OCNPolarity = TIM_OCNPOLARITY_HIGH;
  sConfigOC.OCFastMode = TIM_OCFAST_ENABLE;
  sConfigOC.OCIdleState = TIM_OCIDLESTATE_RESET;
  sConfigOC.OCNIdleState = TIM_OCNIDLESTATE_SET;
  if (HAL_TIM_PWM_ConfigChannel(&htim8, &sConfigOC, TIM_CHANNEL_1) != HAL_OK)
  {
    Error_Handler();
  }
  sBreakDeadTimeConfig.OffStateRunMode = TIM_OSSR_DISABLE;
  sBreakDeadTimeConfig.OffStateIDLEMode = TIM_OSSI_DISABLE;
  sBreakDeadTimeConfig.LockLevel = TIM_LOCKLEVEL_OFF;
  sBreakDeadTimeConfig.DeadTime = 0;
  sBreakDeadTimeConfig.BreakState = TIM_BREAK_DISABLE;
  sBreakDeadTimeConfig.BreakPolarity = TIM_BREAKPOLARITY_HIGH;
  sBreakDeadTimeConfig.BreakFilter = 0;
  sBreakDeadTimeConfig.Break2State = TIM_BREAK2_DISABLE;
  sBreakDeadTimeConfig.Break2Polarity = TIM_BREAK2POLARITY_HIGH;
  sBreakDeadTimeConfig.Break2Filter = 0;
  sBreakDeadTimeConfig.AutomaticOutput = TIM_AUTOMATICOUTPUT_DISABLE;
  if (HAL_TIMEx_ConfigBreakDeadTime(&htim8, &sBreakDeadTimeConfig) != HAL_OK)
  {
    Error_Handler();
  }
  HAL_TIM_MspPostInit(&htim8);

}

static void MX_TIM15_Init(void)
{

  TIM_ClockConfigTypeDef sClockSourceConfig = {0};
  TIM_MasterConfigTypeDef sMasterConfig = {0};

  htim15.Instance = TIM15;
  htim15.Init.Prescaler = 0;
  htim15.Init.CounterMode = TIM_COUNTERMODE_UP;
  htim15.Init.Period = 65535;
  htim15.Init.ClockDivision = TIM_CLOCKDIVISION_DIV1;
  htim15.Init.RepetitionCounter = 0;
  htim15.Init.AutoReloadPreload = TIM_AUTORELOAD_PRELOAD_DISABLE;
  if (HAL_TIM_Base_Init(&htim15) != HAL_OK)
  {
    Error_Handler();
  }
  sClockSourceConfig.ClockSource = TIM_CLOCKSOURCE_INTERNAL;
  if (HAL_TIM_ConfigClockSource(&htim15, &sClockSourceConfig) != HAL_OK)
  {
    Error_Handler();
  }
  sMasterConfig.MasterOutputTrigger = TIM_TRGO_RESET;
  sMasterConfig.MasterSlaveMode = TIM_MASTERSLAVEMODE_DISABLE;
  if (HAL_TIMEx_MasterConfigSynchronization(&htim15, &sMasterConfig) != HAL_OK)
  {
    Error_Handler();
  }

}

static void MX_USART1_UART_Init(void)
{

  huart1.Instance = USART1;
  huart1.Init.BaudRate = 9600;
  huart1.Init.WordLength = UART_WORDLENGTH_8B;
  huart1.Init.StopBits = UART_STOPBITS_1;
  huart1.Init.Parity = UART_PARITY_NONE;
  huart1.Init.Mode = UART_MODE_TX_RX;
  huart1.Init.HwFlowCtl = UART_HWCONTROL_NONE;
  huart1.Init.OverSampling = UART_OVERSAMPLING_16;
  huart1.Init.OneBitSampling = UART_ONE_BIT_SAMPLE_DISABLE;
  huart1.AdvancedInit.AdvFeatureInit = UART_ADVFEATURE_NO_INIT;
  if (HAL_UART_Init(&huart1) != HAL_OK)
  {
    Error_Handler();
  }

}

static void MX_DMA_Init(void)
{

  /* DMA controller clock enable */
  __HAL_RCC_DMA1_CLK_ENABLE();

  /* DMA interrupt init */
  /* DMA1_Channel4_IRQn interrupt configuration */
  HAL_NVIC_SetPriority(DMA1_Channel4_IRQn, 0, 0);
  HAL_NVIC_EnableIRQ(DMA1_Channel4_IRQn);
  /* DMA1_Channel5_IRQn interrupt configuration */
  HAL_NVIC_SetPriority(DMA1_Channel5_IRQn, 0, 0);
  HAL_NVIC_EnableIRQ(DMA1_Channel5_IRQn);

}

static void MX_GPIO_Init(void)
{
  GPIO_InitTypeDef GPIO_InitStruct = {0};

  /* GPIO Ports Clock Enable */
  __HAL_RCC_GPIOC_CLK_ENABLE();
  __HAL_RCC_GPIOF_CLK_ENABLE();
  __HAL_RCC_GPIOA_CLK_ENABLE();
  __HAL_RCC_GPIOB_CLK_ENABLE();
  __HAL_RCC_GPIOD_CLK_ENABLE();

  /*Configure GPIO pin Output Level */
  HAL_GPIO_WritePin(GPIOC, PORT_2_EN_Pin|PORT_3_EN_Pin|PORT_4_EN_Pin|DRV_6_Pin
                          |DRV_7_Pin|DRV_1_Pin|DRV_8_Pin|DRV_2_Pin
                          |DRV_3_Pin|DRV_4_Pin|LED_5_Pin|PORT_1_EN_Pin, GPIO_PIN_RESET);

  /*Configure GPIO pin Output Level */
  HAL_GPIO_WritePin(LED_6_GPIO_Port, LED_6_Pin, GPIO_PIN_RESET);

  /*Configure GPIO pin Output Level */
  HAL_GPIO_WritePin(GPIOB, CS_1_Pin|CS_2_Pin|DRV_5_Pin|LED_1_Pin
                          |LED_2_Pin|LED_3_Pin|LED_4_Pin, GPIO_PIN_RESET);

  /*Configure GPIO pin Output Level */
  HAL_GPIO_WritePin(DIRECT_GPIO_Port, DIRECT_Pin, GPIO_PIN_RESET);

  /*Configure GPIO pins : PORT_2_EN_Pin PORT_3_EN_Pin PORT_4_EN_Pin DRV_6_Pin
                           DRV_7_Pin DRV_1_Pin DRV_8_Pin DRV_2_Pin
                           DRV_3_Pin DRV_4_Pin LED_5_Pin PORT_1_EN_Pin */
  GPIO_InitStruct.Pin = PORT_2_EN_Pin|PORT_3_EN_Pin|PORT_4_EN_Pin|DRV_6_Pin
                          |DRV_7_Pin|DRV_1_Pin|DRV_8_Pin|DRV_2_Pin
                          |DRV_3_Pin|DRV_4_Pin|LED_5_Pin|PORT_1_EN_Pin;
  GPIO_InitStruct.Mode = GPIO_MODE_OUTPUT_PP;
  GPIO_InitStruct.Pull = GPIO_NOPULL;
  GPIO_InitStruct.Speed = GPIO_SPEED_FREQ_LOW;
  HAL_GPIO_Init(GPIOC, &GPIO_InitStruct);

  /*Configure GPIO pin : LED_6_Pin */
  GPIO_InitStruct.Pin = LED_6_Pin;
  GPIO_InitStruct.Mode = GPIO_MODE_OUTPUT_PP;
  GPIO_InitStruct.Pull = GPIO_NOPULL;
  GPIO_InitStruct.Speed = GPIO_SPEED_FREQ_LOW;
  HAL_GPIO_Init(LED_6_GPIO_Port, &GPIO_InitStruct);

  /*Configure GPIO pins : HAL_A_Pin HAL_B_Pin HAL_C_Pin */
  GPIO_InitStruct.Pin = HAL_A_Pin|HAL_B_Pin|HAL_C_Pin;
  GPIO_InitStruct.Mode = GPIO_MODE_IT_RISING;
  GPIO_InitStruct.Pull = GPIO_NOPULL;
  HAL_GPIO_Init(GPIOA, &GPIO_InitStruct);

  /*Configure GPIO pin : UI_INT_Pin */
  GPIO_InitStruct.Pin = UI_INT_Pin;
  GPIO_InitStruct.Mode = GPIO_MODE_IT_RISING;
  GPIO_InitStruct.Pull = GPIO_NOPULL;
  HAL_GPIO_Init(UI_INT_GPIO_Port, &GPIO_InitStruct);

  /*Configure GPIO pins : CS_1_Pin CS_2_Pin DRV_5_Pin LED_1_Pin
                           LED_2_Pin LED_3_Pin LED_4_Pin */
  GPIO_InitStruct.Pin = CS_1_Pin|CS_2_Pin|DRV_5_Pin|LED_1_Pin
                          |LED_2_Pin|LED_3_Pin|LED_4_Pin;
  GPIO_InitStruct.Mode = GPIO_MODE_OUTPUT_PP;
  GPIO_InitStruct.Pull = GPIO_NOPULL;
  GPIO_InitStruct.Speed = GPIO_SPEED_FREQ_LOW;
  HAL_GPIO_Init(GPIOB, &GPIO_InitStruct);

  /*Configure GPIO pin : DIRECT_Pin */
  GPIO_InitStruct.Pin = DIRECT_Pin;
  GPIO_InitStruct.Mode = GPIO_MODE_OUTPUT_PP;
  GPIO_InitStruct.Pull = GPIO_NOPULL;
  GPIO_InitStruct.Speed = GPIO_SPEED_FREQ_LOW;
  HAL_GPIO_Init(DIRECT_GPIO_Port, &GPIO_InitStruct);

}

/* USER CODE BEGIN 4 */

// Функция расчёта частоты таймера
uint16_t calculateTimerFrequency(TIM_TypeDef *TIMx, uint32_t timerClockFreq) {
    uint32_t arr = TIMx->ARR;  // Значение ARR
    return timerClockFreq / (arr + 1);
}

void HAL_TIM_PeriodElapsedCallback(TIM_HandleTypeDef *htim) {
    if (htim->Instance == TIM3) {
     if(coil_period==2){

    	 coil_period=0;
     if(speed_test==1){
    	 LED_1_OFF;
    	 if(polarity==1){Falling_2_coil();}
    	 if(polarity==2){Falling_1_coil();}

         }

     }

     if(coil_period==1){LED_1_ON;TIM3->CNT=0;TIM3->ARR = period/250; coil_period=2;

          if(speed_test==1){
    	 if(polarity==1){Rising_2_coil();}
    	 if(polarity==2){Rising_1_coil();}

          }

     }

    }
}

void HAL_TIM_IC_CaptureCallback(TIM_HandleTypeDef *htim)
{
    if (htim->Instance == TIM2)
    {
        if(htim->Channel == HAL_TIM_ACTIVE_CHANNEL_1)
        {

             LED_2_ON;

             DR_1_OFF;
             DR_4_OFF;
             HAL_TIMEx_PWMN_Stop(&htim1, TIM_CHANNEL_1);
             HAL_TIM_PWM_Stop(&htim1, TIM_CHANNEL_2);

             HAL_TIMEx_PWMN_Start(&htim1, TIM_CHANNEL_2);
             HAL_TIM_PWM_Start(&htim1, TIM_CHANNEL_1);
             DR_2_ON;
             DR_3_ON;

        }

        if(htim->Channel == HAL_TIM_ACTIVE_CHANNEL_2)
        {
             LED_2_OFF;

             DR_2_OFF;
             DR_3_OFF;

             HAL_TIM_PWM_Stop(&htim1, TIM_CHANNEL_1);
             HAL_TIMEx_PWMN_Stop(&htim1, TIM_CHANNEL_2);

             HAL_TIMEx_PWMN_Start(&htim1, TIM_CHANNEL_1);
             HAL_TIM_PWM_Start(&htim1, TIM_CHANNEL_2);

             DR_1_ON;
             DR_4_ON;
           //  moove = HAL_GetTick();

        }

        if(htim->Channel == HAL_TIM_ACTIVE_CHANNEL_3)
        {
          coil_period=1;
          polarity=1;
          period = 0;
          TIM2->CNT = 0;
          period = HAL_TIM_ReadCapturedValue(&htim2, TIM_CHANNEL_4);
          rpm= 540000000/period;
          f=135000000/period;

          TIM3->ARR = period/2000;
         // TIM3->ARR = period/1600;

          TIM3->CNT=0;
         if((rpm<=45)&&(speed_test==0)){
          Falling_1_coil();
          Rising_2_coil();}
          Falling_1_coil();
         if((rpm>=45)&&(speed_test==0)){speed_test=1;}
          LED_1_OFF;

        }

        if(htim->Channel == HAL_TIM_ACTIVE_CHANNEL_4)
        {
           coil_period=1;
           polarity=2;

           TIM3->ARR = period/2000;
          // TIM3->ARR = period/1600;
           TIM3->CNT=0;
           moove = HAL_GetTick();

           if((rpm<=45)&&(speed_test==0)){
           Falling_2_coil();
           Rising_1_coil();}
           Falling_2_coil();
           if((rpm>=45)&&(speed_test==0)){speed_test=1;}
           LED_1_OFF;
        }
    }

}

void HAL_UART_TxCpltCallback(UART_HandleTypeDef *huart)

{

	    RX_2;
	    lastActivityTime = HAL_GetTick();
	    HAL_UARTEx_ReceiveToIdle_DMA(&huart1, rxFrame,RX_BUFFER_SIZE);
	    __HAL_UART_ENABLE_IT(&huart1, UART_IT_IDLE);
	    __HAL_DMA_DISABLE_IT(&hdma_usart1_rx, DMA_IT_HT);
	    HAL_TIM_Base_Start_IT(&htim15);
}

void HAL_UARTEx_RxEventCallback(UART_HandleTypeDef *huart, uint16_t Size)
{
	if (huart->Instance == USART1)
	{

        HAL_TIM_Base_Stop_IT(&htim15);
		lastActivityTime = HAL_GetTick();
	    __HAL_UART_DISABLE_IT(&huart1, UART_IT_IDLE);
	    HAL_DMA_Abort(&hdma_usart1_rx);
	    Registers_handler(rxFrame, data_reg, rcv_data_reg,Size);
	    HAL_TIM_Base_Start_IT(&htim15);
	}
}

void Check_USART1_Timeout(void)
 {
     if (HAL_GetTick() - lastActivityTime >= USART_TIMEOUT)
     {

         Reset_USART1();
         RX_2;
     }
 }

void Reset_USART1(void) {
    // Включить индикатор (если требуется)
  //  LED_1_ON;

    // Остановить передачу и прием по DMA
    if (HAL_UART_DMAStop(&huart1) != HAL_OK) {
        // Обработка ошибки
    }

    // Прерывание активных DMA транзакций
    if (hdma_usart1_rx.Instance != NULL) {
        HAL_DMA_Abort(&hdma_usart1_rx);
    }
    if (hdma_usart1_tx.Instance != NULL) {
        HAL_DMA_Abort(&hdma_usart1_tx);
    }

    // Отключить все прерывания UART
    __HAL_UART_DISABLE_IT(&huart1, UART_IT_IDLE | UART_IT_TC | UART_IT_RXNE);

    // Сбросить флаги ошибок UART
    __HAL_UART_CLEAR_OREFLAG(&huart1);
    __HAL_UART_CLEAR_FEFLAG(&huart1);

    // Сбросить периферийный модуль USART1
    __HAL_RCC_USART1_FORCE_RESET();
    HAL_Delay(1); // Задержка для завершения сброса
    __HAL_RCC_USART1_RELEASE_RESET();

    // Деинициализация UART
    if (HAL_UART_DeInit(&huart1) != HAL_OK) {
        // Обработка ошибки
    }

    // Повторная инициализация UART
    MX_USART1_UART_Init();

    // Повторная настройка DMA
    MX_DMA_Init();

    // Настройка UART для приема данных с использованием DMA
    if (HAL_UARTEx_ReceiveToIdle_DMA(&huart1, rxFrame, RX_BUFFER_SIZE) != HAL_OK) {
        // Обработка ошибки
    }
    __HAL_DMA_DISABLE_IT(&hdma_usart1_rx, DMA_IT_HT);

    // Сброс параметров и таймеров
    lastActivityTime = HAL_GetTick();

}

void Read_ADC_Values(void)
{
    HAL_ADC_Start(&hadc1);  // Запуск АЦП
    HAL_ADC_PollForConversion(&hadc1, HAL_MAX_DELAY);  // Ждём завершения
    for (uint8_t i = 0; i < ADC_NUM_CHANNELS; i++) {
        adc_values[i] = HAL_ADC_GetValue(&hadc1);  // Считываем каждое значение
    }
    HAL_ADC_Stop(&hadc1);
}

void Rising_2_coil(void){
	HAL_TIMEx_PWMN_Start(&htim1, TIM_CHANNEL_3);
	HAL_TIM_PWM_Start(&htim8, TIM_CHANNEL_1);
	DR_5_ON;
	DR_8_ON;
}

void Falling_1_coil(void){
	 DR_6_OFF;
	 DR_7_OFF;
	 HAL_TIMEx_PWMN_Stop(&htim8, TIM_CHANNEL_1);
	 HAL_TIM_PWM_Stop(&htim1, TIM_CHANNEL_3);
}

void Rising_1_coil(void){
    HAL_TIM_PWM_Start(&htim1, TIM_CHANNEL_3);
    HAL_TIMEx_PWMN_Start(&htim8, TIM_CHANNEL_1);
    DR_6_ON;
    DR_7_ON;
}

void Falling_2_coil(void){
	 DR_5_OFF;
	 DR_8_OFF;
	 HAL_TIMEx_PWMN_Stop(&htim1, TIM_CHANNEL_3);
	 HAL_TIM_PWM_Stop(&htim8, TIM_CHANNEL_1);
}
/* USER CODE END 4 */

void Error_Handler(void)
{
  __disable_irq();
  while (1)
  {
  }
}
